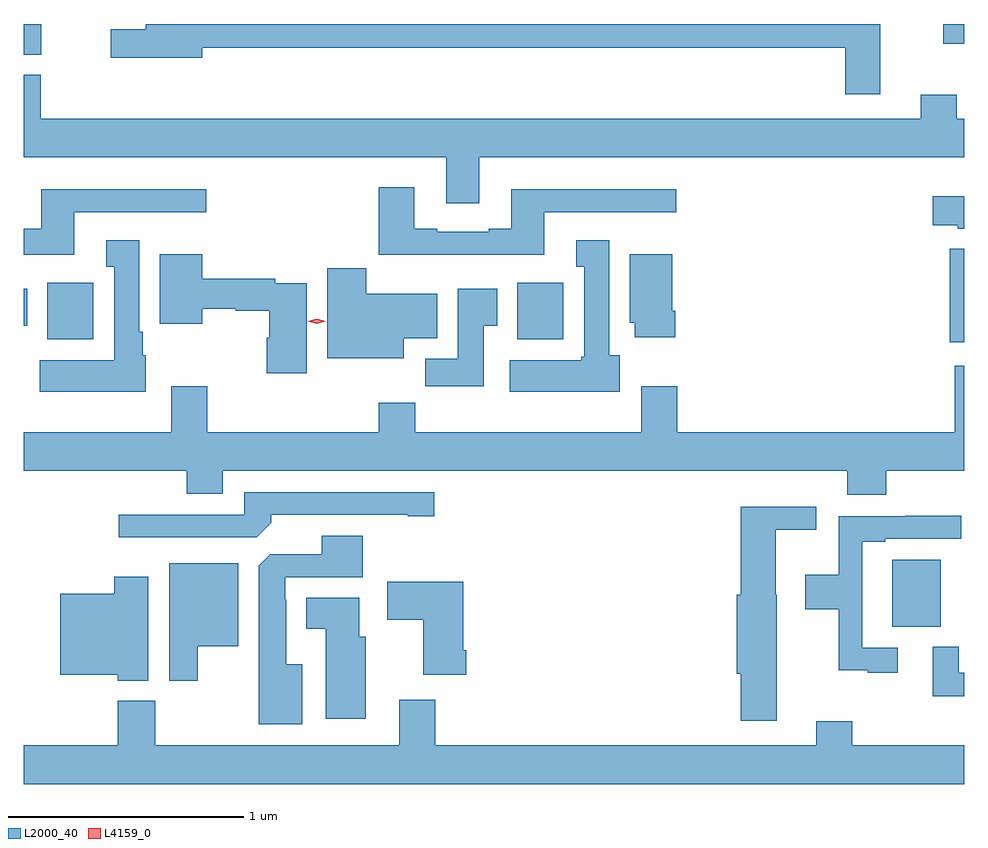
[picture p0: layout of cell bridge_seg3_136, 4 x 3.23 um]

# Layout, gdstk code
import gdstk
lib = gdstk.Library(unit=1e-6, precision=1e-09)
def R(c, l, rs):  # rectangles x0, y0, x1, y1
    for r in rs: c.add(gdstk.rectangle(r[:2], r[2:], *l))
def P(c, l, *ps):  # polygons
    for p in ps: c.add(gdstk.Polygon(p, *l))
L2000_40 = (2000, 40)
L4159_0 = (4159, 0)

bridge_seg3_136 = lib.new_cell('bridge_seg3_136')
R(bridge_seg3_136, L2000_40, [(329.165,698.921,329.371,699.205), (329.408,700.131,329.471,700.528), (325.571,700.142,325.768,700.384), (327.569,700.142,327.766,700.384), (325.471,700.201,325.486,700.357), (325.471,701.353,325.546,701.483), (329.38,701.399,329.471,701.483)])
P(bridge_seg3_136, L2000_40, [(329.113,701.483),(325.991,701.483),(325.991,701.461),(325.842,701.461),(325.842,701.339),(326.23,701.339),(326.23,701.382),(328.964,701.382),(328.964,701.184),(329.113,701.184)],
  [(327.409,700.916),(329.471,700.916),(329.471,701.08),(329.438,701.08),(329.438,701.182),(329.285,701.182),(329.285,701.08),(325.544,701.08),(325.544,701.268),(325.471,701.268),(325.471,700.916),(327.269,700.916),(327.269,700.722),(327.409,700.722)],
  [(327.685,700.683),(328.246,700.683),(328.246,700.78),(327.545,700.78),(327.545,700.612),(327.449,700.612),(327.449,700.599),(327.229,700.599),(327.229,700.612),(327.133,700.612),(327.133,700.789),(326.981,700.789),(326.981,700.503),(327.097,700.503),(327.097,700.502),(327.685,700.502)],
  [(325.687,700.683),(326.248,700.683),(326.248,700.78),(325.547,700.78),(325.547,700.612),(325.471,700.612),(325.471,700.502),(325.687,700.502)],
  [(329.471,700.75),(329.337,700.75),(329.337,700.628),(329.442,700.628),(329.442,700.613),(329.471,700.613)],
  [(325.99,700.074),(325.978,700.074),(325.978,700.174),(325.963,700.174),(325.963,700.564),(325.823,700.564),(325.823,700.451),(325.856,700.451),(325.856,700.054),(325.539,700.054),(325.539,699.92),(325.99,699.92)],
  [(328.006,700.074),(327.961,700.074),(327.961,700.564),(327.821,700.564),(327.821,700.451),(327.854,700.451),(327.854,700.068),(327.841,700.068),(327.841,700.054),(327.537,700.054),(327.537,699.92),(328.006,699.92)],
  [(328.241,700.264),(328.228,700.264),(328.228,700.504),(328.049,700.504),(328.049,700.212),(328.07,700.212),(328.07,700.152),(328.241,700.152)],
  [(326.674,700.38),(326.54,700.38),(326.54,700.4),(326.23,700.4),(326.23,700.504),(326.051,700.504),(326.051,700.208),(326.23,700.208),(326.23,700.272),(326.373,700.272),(326.373,700.264),(326.516,700.264),(326.516,700.149),(326.504,700.149),(326.504,699.999),(326.674,699.999)],
  [(327.088,700.148),(327.229,700.148),(327.229,700.336),(326.927,700.336),(326.927,700.444),(326.762,700.444),(326.762,700.061),(327.088,700.061)],
  [(327.427,700.201),(327.484,700.201),(327.484,700.357),(327.317,700.357),(327.317,700.06),(327.178,700.06),(327.178,699.942),(327.427,699.942)],
  [(329.138,699.584),(329.471,699.584),(329.471,700.03),(329.429,700.03),(329.429,699.748),(328.25,699.748),(328.25,699.943),(328.097,699.943),(328.097,699.748),(327.137,699.748),(327.137,699.872),(326.981,699.872),(326.981,699.748),(326.252,699.748),(326.252,699.943),(326.099,699.943),(326.099,699.748),(325.471,699.748),(325.471,699.584),(326.165,699.584),(326.165,699.485),(326.317,699.485),(326.317,699.584),(328.973,699.584),(328.973,699.482),(329.138,699.482)],
  [(326.525,699.362),(326.525,699.396),(327.104,699.396),(327.104,699.391),(327.217,699.391),(327.217,699.492),(326.409,699.492),(326.409,699.396),(325.875,699.396),(325.875,699.3),(326.463,699.3)],
  [(328.672,699.057),(328.669,699.057),(328.669,699.332),(328.84,699.332),(328.84,699.43),(328.52,699.43),(328.52,699.057),(328.502,699.057),(328.502,698.721),(328.52,698.721),(328.52,698.52),(328.672,698.52)],
  [(329.188,698.832),(329.037,698.832),(329.037,699.282),(329.134,699.282),(329.134,699.294),(329.458,699.294),(329.458,699.392),(329.221,699.392),(329.221,699.39),(328.936,699.39),(328.936,699.142),(328.794,699.142),(328.794,698.995),(328.936,698.995),(328.936,698.735),(329.06,698.735),(329.06,698.724),(329.188,698.724)],
  [(326.656,698.761),(326.587,698.761),(326.587,699.035),(326.583,699.035),(326.583,699.132),(326.914,699.132),(326.914,699.307),(326.738,699.307),(326.738,699.228),(326.52,699.228),(326.471,699.179),(326.471,698.507),(326.656,698.507)],
  [(326.212,698.837),(326.383,698.837),(326.383,699.19),(326.09,699.19),(326.09,698.691),(326.212,698.691)],
  [(326.002,699.133),(325.856,699.133),(325.856,699.061),(325.628,699.061),(325.628,698.717),(325.872,698.717),(325.872,698.69),(326.002,698.69)],
  [(327.353,698.821),(327.34,698.821),(327.34,699.112),(327.018,699.112),(327.018,698.95),(327.17,698.95),(327.17,698.717),(327.353,698.717)],
  [(326.926,698.877),(326.899,698.877),(326.899,699.043),(326.672,699.043),(326.672,698.912),(326.756,698.912),(326.756,698.529),(326.926,698.529)],
  [(329.471,698.726),(329.446,698.726),(329.446,698.836),(329.336,698.836),(329.336,698.625),(329.471,698.625)],
  [(329.471,698.416),(328.994,698.416),(328.994,698.518),(328.841,698.518),(328.841,698.416),(327.221,698.416),(327.221,698.611),(327.068,698.611),(327.068,698.416),(326.031,698.416),(326.031,698.605),(325.871,698.605),(325.871,698.416),(325.471,698.416),(325.471,698.252),(329.471,698.252)])
P(bridge_seg3_136, L4159_0, [(326.718,700.209),(326.68,700.219),(326.679,700.219),(326.68,700.22),(326.718,700.229),(326.755,700.22),(326.756,700.219),(326.755,700.219)])

lib.write_gds('bridge_seg3_136.gds')
